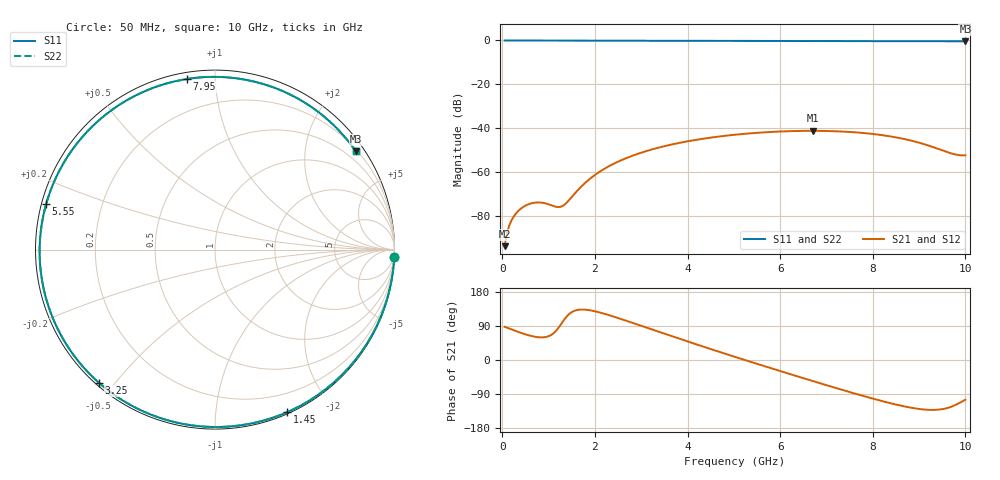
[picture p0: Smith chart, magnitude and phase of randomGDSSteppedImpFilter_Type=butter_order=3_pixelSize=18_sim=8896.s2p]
! freq	dB(S11)	phase(S11)	dB(S12)	phase(S12)
!  dB(S21)	phase(S21)	dB(S22)	phase(S22)
!S-par simulation data
#  GHz  S  DB  R 50
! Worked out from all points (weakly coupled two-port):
!   200 points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, 50 MHz to 10 GHz, reference 50 ohm
!   highest |S21| = -41.12 dB at 6.7 GHz (marker M1); lowest = -93.6 dB at 50 MHz (marker M2)
!   lowest |S11| = -0.4 dB at 10 GHz (marker M3), VSWR 44.94, Z = 12.3 + j158 ohm
!   |S11| at or under -10 dB: nowhere
!   |S22| runs from -0.4 to 0.0 dB; largest |S21 - S12| = 0
!   S11 on the Smith chart (normalised r, x): 50 MHz: 0, -47; 1.45 GHz: 0.02, -1.54; 3.25 GHz: 0.01, -0.46; 5.55 GHz: 0.01, +0.13; 7.95 GHz: 0.03, +0.85; 10 GHz: 0.25, +3.16
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0.05  -0.00 -2.4  -93.59 87.7  -93.59 87.7  -0.00 -2.4
0.25  -0.02 -12.0  -80.01 78.4  -80.01 78.4  -0.02 -12.0
0.45  -0.03 -21.4  -75.77 69.7  -75.77 69.7  -0.03 -21.4
0.65  -0.04 -30.8  -73.99 62.8  -73.99 62.8  -0.04 -30.8
0.85  -0.05 -39.9  -73.80 59.7  -73.80 59.7  -0.05 -39.9
1.25  -0.07 -57.6  -75.74 91.2  -75.74 91.2  -0.07 -57.6
1.45  -0.08 -66.1  -72.44 122.0  -72.44 122.0  -0.08 -66.1
1.75  -0.09 -78.3  -65.56 133.1  -65.56 133.1  -0.09 -78.3
2.05  -0.10 -89.9  -60.47 127.1  -60.47 127.1  -0.10 -89.9
2.4  -0.11 -102.7  -56.16 114.7  -56.16 114.7  -0.11 -102.7
3.25  -0.14 -130.9  -49.47 79.8  -49.47 79.8  -0.14 -130.9
3.4  -0.14 -135.6  -48.62 73.5  -48.62 73.5  -0.14 -135.6
4.2  -0.17 -158.9  -45.16 40.8  -45.16 40.8  -0.17 -158.9
5.05  -0.20 178.1  -42.83 7.3  -42.83 7.3  -0.20 178.1
5.55  -0.23 164.8  -41.95 -12.0  -41.95 -12.0  -0.22 164.8
6.7  -0.28 134.3  -41.12 -55.4  -41.12 -55.4  -0.28 134.3
7.35  -0.30 116.5  -41.45 -79.2  -41.45 -79.2  -0.30 116.5
7.95  -0.32 99.3  -42.42 -100.2  -42.42 -100.2  -0.32 99.3
8.35  -0.34 87.5  -43.54 -113.1  -43.54 -113.1  -0.34 87.5
9.15  -0.36 62.7  -47.46 -131.1  -47.46 -131.1  -0.36 62.7
9.75  -0.38 43.2  -51.71 -120.6  -51.71 -120.6  -0.38 43.2
10  -0.39 34.9  -52.26 -104.8  -52.26 -104.8  -0.39 34.9
